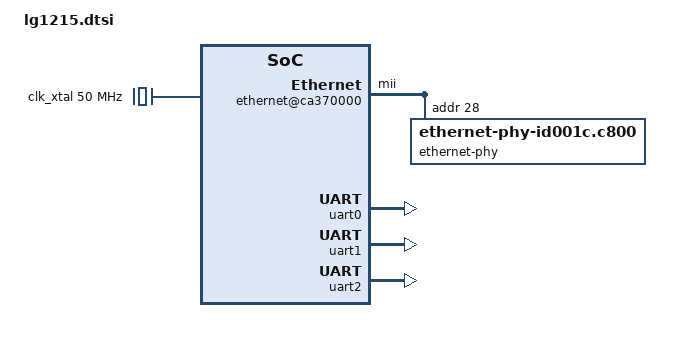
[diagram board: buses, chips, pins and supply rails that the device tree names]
// SPDX-License-Identifier: GPL-2.0
/*
 * dts file for lg1215 SoC
 *
 * Copyright (C) 2026, LG Electronics
 */

#include <dt-bindings/gpio/gpio.h>
#include <dt-bindings/interrupt-controller/arm-gic.h>

/ {
	#address-cells = <2>;
	#size-cells = <2>;

	interrupt-parent = <&gic>;

	cpus {
		#address-cells = <1>;
		#size-cells = <0>;

		cpu0: cpu@0 {
			device_type = "cpu";
			compatible = "arm,cortex-a78";
			reg = <0x00000000>;
			enable-method = "psci";
			operating-points-v2 = <&cpu0_opp_table>;
			d-cache-line-size = <64>;
			d-cache-sets = <256>;
			d-cache-size = <0x00010000>;
			i-cache-line-size = <64>;
			i-cache-sets = <256>;
			i-cache-size = <0x00010000>;
			next-level-cache = <&L2_0>;
			L2_0: l2-cache@0 {
				compatible = "cache";
				cache-level = <2>;
				cache-line-size = <64>;
				cache-sets = <512>;
				cache-size = <0x00040000>;
				cache-unified;
				next-level-cache = <&L3>;
			};
		};
		cpu1: cpu@100 {
			device_type = "cpu";
			compatible = "arm,cortex-a78";
			reg = <0x00000100>;
			enable-method = "psci";
			operating-points-v2 = <&cpu0_opp_table>;
			d-cache-line-size = <64>;
			d-cache-sets = <256>;
			d-cache-size = <0x00010000>;
			i-cache-line-size = <64>;
			i-cache-sets = <256>;
			i-cache-size = <0x00010000>;
			next-level-cache = <&L2_1>;
			L2_1: l2-cache@100 {
				compatible = "cache";
				cache-level = <2>;
				cache-line-size = <64>;
				cache-sets = <512>;
				cache-size = <0x00040000>;
				cache-unified;
				next-level-cache = <&L3>;
			};
		};
		cpu2: cpu@200 {
			device_type = "cpu";
			compatible = "arm,cortex-a78";
			reg = <0x00000200>;
			enable-method = "psci";
			operating-points-v2 = <&cpu0_opp_table>;
			d-cache-line-size = <64>;
			d-cache-sets = <256>;
			d-cache-size = <0x00010000>;
			i-cache-line-size = <64>;
			i-cache-sets = <256>;
			i-cache-size = <0x00010000>;
			next-level-cache = <&L2_2>;
			L2_2: l2-cache@200 {
				compatible = "cache";
				cache-level = <2>;
				cache-line-size = <64>;
				cache-sets = <512>;
				cache-size = <0x00040000>;
				cache-unified;
				next-level-cache = <&L3>;
			};
		};
		cpu3: cpu@300 {
			device_type = "cpu";
			compatible = "arm,cortex-a78";
			reg = <0x00000300>;
			enable-method = "psci";
			operating-points-v2 = <&cpu0_opp_table>;
			d-cache-line-size = <64>;
			d-cache-sets = <256>;
			d-cache-size = <0x00010000>;
			i-cache-line-size = <64>;
			i-cache-sets = <256>;
			i-cache-size = <0x00010000>;
			next-level-cache = <&L2_3>;
			L2_3: l2-cache@300 {
				compatible = "cache";
				cache-level = <2>;
				cache-line-size = <64>;
				cache-sets = <512>;
				cache-size = <0x00040000>;
				cache-unified;
				next-level-cache = <&L3>;
			};
		};
		L3: l3-cache {
			compatible = "cache";
			cache-level = <3>;
			cache-line-size = <64>;
			cache-sets = <512>;
			cache-size = <0x00100000>;
			cache-unified;
		};
	};

	psci {
		compatible = "arm,psci";
		method = "smc";
		cpu_suspend = <0xc4000001>;
		cpu_off = <0xc4000002>;
		cpu_on = <0xc4000003>;
	};

	cpu0_opp_table: opp_table@0 {
		compatible = "operating-points-v2";
		opp-shared;

		opp-default {
			opp-hz = /bits/ 64 <1600000000>;
		};
	};

	gic: interrupt-controller@c0000000 {
		compatible = "arm,gic-400";
		reg = <0x0 0xc0001000 0x0 0x1000>, /* GICD */
		      <0x0 0xc0002000 0x0 0x2000>, /* GICC */
		      <0x0 0xc0004000 0x0 0x2000>, /* GICH */
		      <0x0 0xc0006000 0x0 0x2000>; /* GICV */
		#interrupt-cells = <3>;
		#address-cells = <0>;
		interrupts = <GIC_PPI 9 (GIC_CPU_MASK_RAW(0x0f) |
					IRQ_TYPE_LEVEL_LOW)>;

		interrupt-controller;
	};

	pmu {
		compatible = "arm,armv8-pmuv3";
		interrupts = <GIC_SPI 184 IRQ_TYPE_LEVEL_HIGH>,
			     <GIC_SPI 185 IRQ_TYPE_LEVEL_HIGH>,
			     <GIC_SPI 186 IRQ_TYPE_LEVEL_HIGH>,
			     <GIC_SPI 187 IRQ_TYPE_LEVEL_HIGH>;
		interrupt-affinity = <&cpu0>,
				     <&cpu1>,
				     <&cpu2>,
				     <&cpu3>;
	};

	timer {
		compatible = "arm,armv8-timer";
		interrupts = <GIC_PPI 13 (GIC_CPU_MASK_RAW(0x0f) |
			      IRQ_TYPE_LEVEL_LOW)>,
			     <GIC_PPI 14 (GIC_CPU_MASK_RAW(0x0f) |
			      IRQ_TYPE_LEVEL_LOW)>,
			     <GIC_PPI 11 (GIC_CPU_MASK_RAW(0x0f) |
			      IRQ_TYPE_LEVEL_LOW)>,
			     <GIC_PPI 10 (GIC_CPU_MASK_RAW(0x0f) |
			      IRQ_TYPE_LEVEL_LOW)>;
	};

	clks {
		#address-cells = <2>;
		#size-cells = <2>;
		ranges;

		clk_xtal: clk-xtal {
			compatible = "fixed-clock";
			clock-output-names = "xtal";
			clock-frequency = <50000000>;

			#clock-cells = <0>;
		};

		clk_bus: clk-bus {
			compatible = "fixed-factor-clock";
			clocks = <&clk_xtal>;
			clock-names = "xtal";
			clock-output-names = "busclk";
			clock-div = <1>;
			clock-mult = <4>;

			#clock-cells = <0>;
		};
	};

	soc {
		compatible = "simple-bus";

		#address-cells = <2>;
		#size-cells = <2>;
		ranges;

		interrupt-parent = <&gic>;

		dwmac_axi_config: dwmac-axi-config {
			snps,rd_osr_lmt = <0x07>;
			snps,wr_osr_lmt = <0x07>;
			snps,blen = <0 0 16 0 0 0 0>;
		};
		ethernet@ca370000 {
			compatible = "snps,dwmac";
			reg = <0x0 0xca370000 0x0 0x2000>;
			interrupts = <GIC_SPI 65 IRQ_TYPE_LEVEL_HIGH>;
			interrupt-names = "macirq";
			clocks = <&clk_bus>, <&clk_bus>;
			clock-names = "stmmaceth", "pclk";
			max-frame-size = <1500>;
			phy-mode = "mii";
			snps,pbl = <2>;
			snps,fixed-burst;
			snps,multicast-filter-bins = <64>;
			snps,perfect-filter-entries = <32>;
			snps,axi-config = <&dwmac_axi_config>;
			mac-address = [ 00 00 00 00 00 00 ];

			#address-cells = <1>;
			#size-cells = <0>;

			ethernet-phy@1c {
				compatible = "ethernet-phy-id001c.c800";
				reg = <0x1c>;
				interrupts = <GIC_SPI 66 IRQ_TYPE_LEVEL_HIGH>;
			};
		};

	};

	amba {
		#address-cells = <2>;
		#size-cells = <2>;

		compatible = "simple-bus";
		interrupt-parent = <&gic>;
		ranges;

		timers0: timer@fd100000 {
			compatible = "arm,sp804", "arm,primecell";
			reg = <0x0 0xfd100000 0x0 0x1000>;
			interrupts = <GIC_SPI 6 IRQ_TYPE_LEVEL_HIGH>;
			clocks = <&clk_bus>, <&clk_bus>, <&clk_bus>;
			clock-names = "timer0clk", "timer1clk", "apb_pclk";
		};
		timers1: timer@fd110000 {
			compatible = "arm,sp804", "arm,primecell";
			reg = <0x0 0xfd110000 0x0 0x1000>;
			interrupts = <GIC_SPI 38 IRQ_TYPE_LEVEL_HIGH>;
			clocks = <&clk_bus>, <&clk_bus>, <&clk_bus>;
			clock-names = "timer0clk", "timer1clk", "apb_pclk";
			status = "disabled";
		};
		wdog: watchdog@fd200000 {
			compatible = "arm,sp805", "arm,primecell";
			reg = <0x0 0xfd200000 0x0 0x1000>;
			interrupts = <GIC_SPI 7 IRQ_TYPE_LEVEL_HIGH>;
			clocks = <&clk_bus>;
			clock-names = "apb_pclk";
		};
		uart0: serial@fe000000 {
			compatible = "arm,pl011", "arm,primecell";
			reg = <0x0 0xfe000000 0x0 0x1000>;
			interrupts = <GIC_SPI 0 IRQ_TYPE_LEVEL_HIGH>;
			clocks = <&clk_bus>, <&clk_bus>;
			clock-names = "uartclk", "apb_pclk";
		};
		uart1: serial@fe100000 {
			compatible = "arm,pl011", "arm,primecell";
			reg = <0x0 0xfe100000 0x0 0x1000>;
			interrupts = <GIC_SPI 1 IRQ_TYPE_LEVEL_HIGH>;
			clocks = <&clk_bus>, <&clk_bus>;
			clock-names = "uartclk", "apb_pclk";
		};
		uart2: serial@fe200000 {
			compatible = "arm,pl011", "arm,primecell";
			reg = <0x0 0xfe200000 0x0 0x1000>;
			interrupts = <GIC_SPI 2 IRQ_TYPE_LEVEL_HIGH>;
			clocks = <&clk_bus>, <&clk_bus>;
			clock-names = "uartclk", "apb_pclk";
		};
		dma: dma@ff200000 {
			compatible = "arm,pl080", "arm,primecell";
			reg = <0x0 0xff200000 0x0 0x1000>;
			interrupts = <GIC_SPI 36 IRQ_TYPE_LEVEL_HIGH>;
			clocks = <&clk_bus>;
			clock-names = "apb_pclk";
		};
	};
};
